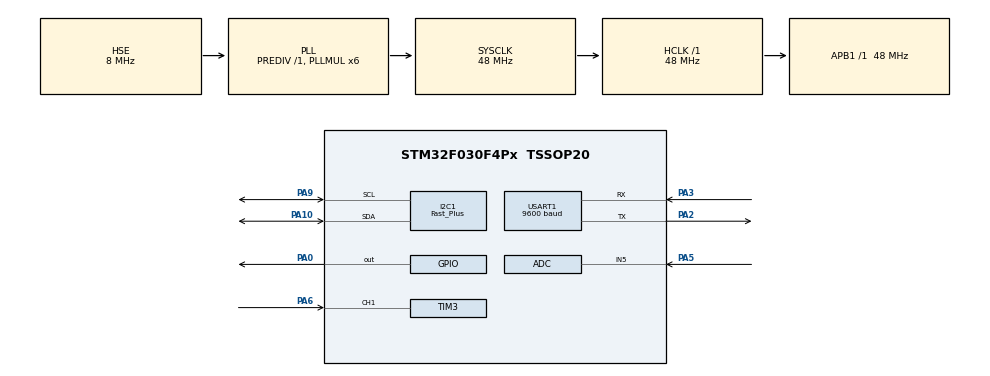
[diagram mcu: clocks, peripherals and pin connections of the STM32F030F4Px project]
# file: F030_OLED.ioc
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ADC.Resolution=ADC_RESOLUTION_12B
ADC.SamplingTime=ADC_SAMPLETIME_239CYCLES_5
Dma.Request0=USART1_RX
Dma.USART1_RX.0.Direction=DMA_PERIPH_TO_MEMORY
Dma.USART1_RX.0.Instance=DMA1_Channel3
Dma.USART1_RX.0.MemDataAlignment=DMA_MDATAALIGN_BYTE
Dma.USART1_RX.0.MemInc=DMA_MINC_ENABLE
Dma.USART1_RX.0.Mode=DMA_NORMAL
Dma.USART1_RX.0.PeriphDataAlignment=DMA_PDATAALIGN_BYTE
Dma.USART1_RX.0.PeriphInc=DMA_PINC_DISABLE
Dma.USART1_RX.0.Priority=DMA_PRIORITY_LOW
I2C1.I2C_Speed_Mode=I2C_Fast_Plus
I2C1.Timing=0x00000001
Mcu.Family=STM32F0
Mcu.Name=STM32F030F4Px
Mcu.Package=TSSOP20
NVIC.ADC1_IRQn=true\:0\:0\:false\:false\:true\:true
NVIC.DMA1_Channel2_3_IRQn=true\:0\:0\:false\:false\:true\:false
NVIC.TIM3_IRQn=true\:0\:0\:false\:false\:true\:true
NVIC.USART1_IRQn=true\:0\:0\:false\:false\:true\:true
PA0.Signal=GPIO_Output
PA10.Mode=I2C
PA10.Signal=I2C1_SDA
PA2.Mode=Asynchronous
PA2.Signal=USART1_TX
PA3.Mode=Asynchronous
PA3.Signal=USART1_RX
PA5.Mode=IN5
PA5.Signal=ADC_IN5
PA6.GPIO_PuPd=GPIO_PULLDOWN
PA6.Signal=S_TIM3_CH1
PA9.Mode=I2C
PA9.Signal=I2C1_SCL
PF0-OSC_IN.Mode=HSE-External-Oscillator
PF0-OSC_IN.Signal=RCC_OSC_IN
PF1-OSC_OUT.Mode=HSE-External-Oscillator
PF1-OSC_OUT.Signal=RCC_OSC_OUT
ProjectManager.HeapSize=0x200
ProjectManager.StackSize=0x400
ProjectManager.TargetToolchain=MDK-ARM V5
RCC.AHBFreq_Value=48000000
RCC.APB1Freq_Value=48000000
RCC.APB1TimFreq_Value=48000000
RCC.HCLKFreq_Value=48000000
RCC.PLLMUL=RCC_PLL_MUL6
RCC.PLLSourceVirtual=RCC_PLLSOURCE_HSE
RCC.SYSCLKFreq_VALUE=48000000
RCC.SYSCLKSource=RCC_SYSCLKSOURCE_PLLCLK
SH.S_TIM3_CH1.0=TIM3_CH1,Input_Capture1_from_TI1
TIM3.AutoReloadPreload=TIM_AUTORELOAD_PRELOAD_ENABLE
TIM3.Channel-Input_Capture1_from_TI1=TIM_CHANNEL_1
TIM3.ICFilter_CH1=8
TIM3.Period=65535
TIM3.Prescaler=47
USART1.BaudRate=9600
USART1.VirtualMode-Asynchronous=VM_ASYNC
board=custom

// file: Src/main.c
/* USER CODE BEGIN Header */
/**
  ******************************************************************************
  * @file           : main.c
  * @brief          : Main program body
  ******************************************************************************
  ** This notice applies to any and all portions of this file
  * that are not between comment pairs USER CODE BEGIN and
  * USER CODE END. Other portions of this file, whether
  * inserted by the user or by software development tools
  * are owned by their respective copyright owners.
  *
  * COPYRIGHT(c) 2019 STMicroelectronics
  *
  * Redistribution and use in source and binary forms, with or without modification,
  * are permitted provided that the following conditions are met:
  *   1. Redistributions of source code must retain the above copyright notice,
  *      this list of conditions and the following disclaimer.
  *   2. Redistributions in binary form must reproduce the above copyright notice,
  *      this list of conditions and the following disclaimer in the documentation
  *      and/or other materials provided with the distribution.
  *   3. Neither the name of STMicroelectronics nor the names of its contributors
  *      may be used to endorse or promote products derived from this software
  *      without specific prior written permission.
  *
  * THIS SOFTWARE IS PROVIDED BY THE COPYRIGHT HOLDERS AND CONTRIBUTORS "AS IS"
  * AND ANY EXPRESS OR IMPLIED WARRANTIES, INCLUDING, BUT NOT LIMITED TO, THE
  * IMPLIED WARRANTIES OF MERCHANTABILITY AND FITNESS FOR A PARTICULAR PURPOSE ARE
  * DISCLAIMED. IN NO EVENT SHALL THE COPYRIGHT HOLDER OR CONTRIBUTORS BE LIABLE
  * FOR ANY DIRECT, INDIRECT, INCIDENTAL, SPECIAL, EXEMPLARY, OR CONSEQUENTIAL
  * DAMAGES (INCLUDING, BUT NOT LIMITED TO, PROCUREMENT OF SUBSTITUTE GOODS OR
  * SERVICES; LOSS OF USE, DATA, OR PROFITS; OR BUSINESS INTERRUPTION) HOWEVER
  * CAUSED AND ON ANY THEORY OF LIABILITY, WHETHER IN CONTRACT, STRICT LIABILITY,
  * OR TORT (INCLUDING NEGLIGENCE OR OTHERWISE) ARISING IN ANY WAY OUT OF THE USE
  * OF THIS SOFTWARE, EVEN IF ADVISED OF THE POSSIBILITY OF SUCH DAMAGE.
  *
  ******************************************************************************
  */
/* USER CODE END Header */

#include "main.h"
#include "adc.h"
#include "dma.h"
#include "i2c.h"
#include "tim.h"
#include "usart.h"
#include "gpio.h"

/* USER CODE BEGIN Includes */
#include "oled.h"
#include "dht11.h"
#include <stdio.h>
#include <string.h>
#include "ch2o.h"
#include "PWMCapture.h"

/* USER CODE END Includes */

void SystemClock_Config(void);

/* USER CODE BEGIN 0 */

uint16_t ADC_value = 0;

/* USER CODE END 0 */

int main(void)
{

  /* MCU Configuration--------------------------------------------------------*/

  /* Reset of all peripherals, Initializes the Flash interface and the Systick. */
  HAL_Init();

  /* Configure the system clock */
  SystemClock_Config();

  /* Initialize all configured peripherals */
  MX_GPIO_Init();
  MX_DMA_Init();
  MX_I2C1_Init();
  MX_USART1_UART_Init();
  MX_ADC_Init();
  MX_TIM3_Init();
  /* USER CODE BEGIN 2 */
  EnableUartIT();
	OLED_Init();
	OLED_Clear();

	printf ("system ok!\n");
	uint16_t x = 0,y = 3,i = 0;//温湿度及坐标
	uint8_t  temperature = 0;
	uint8_t  humidity = 0;
	uint8_t tem[3] ;
	uint8_t hum[3] ;

	uint8_t ch2ochar[5] ;     //甲醛及单位
	uint8_t PPB[] = "ug/m3";

	uint8_t smogchar[5] ;     //烟感及定时器
	uint32_t ADCTime = 0;

	uint8_t co2char[6] ;

  /* USER CODE END 2 */

  /* Infinite loop */
  /* USER CODE BEGIN WHILE */
  while (1)
  {
		DHT11_Read_Data(&temperature,&humidity);	//读取温湿度值

		//Ch2oSensor();//一直不清空buff，会导致死机
		Int_To_Str(temperature,(char *)tem);         //温度数字转字符串
		Int_To_Str(humidity,(char *)hum);            //湿度数字转字符串
		Int_To_Str(Ch2oSensor(),(char *)ch2ochar);   //甲醛数字转字符串
	    Int_To_Str(HAL_ADC_GetValue(&hadc),(char *)smogchar);      //烟感ADC转字符串
		Int_To_Str(PWMCapture(),(char *)co2char);   //CO2

		x = 0;y = 0;
		OLED_ShowCHinese(x+0  ,y,4);//温度显示：
		OLED_ShowCHinese(x+=18,y,5);//
		OLED_ShowCHinese(x+=18,y,6);//
		OLED_ShowString (x+=7 ,y+1,tem,2);

		OLED_ShowCHinese(x+=25,y,7);//湿度显示：
		OLED_ShowCHinese(x+=18,y,8);//
		OLED_ShowCHinese(x+=18,y,9);//
		OLED_ShowString (x+=7 ,y+1,hum,2);

		y = 2;
		OLED_ShowCHinese(i+0 ,y,0);//滚动字体
		OLED_ShowCHinese(i+18,y,1);//
		OLED_ShowCHinese(i+36,y,2);//
		OLED_ShowCHinese(i+54,y,3);//
		i++;//实现滚动

		x = 0;y = 4;
		OLED_ShowString (x,y,"CO2:",strlen("CO2:"));   //CO2显示位置
		OLED_ShowString (x+=40,y,co2char,strlen((char *)co2char));
		x += (strlen((char *)co2char)*8);
		OLED_ShowString (x,y," ",2);//清除后面的显示

		x = 0;y = 5;
		OLED_ShowString (x,y,"Smog:",strlen("Smog:"));   //烟感显示位置
		OLED_ShowString (x+40,y,smogchar,strlen((char *)smogchar));

		x = 0;y = 6;
		OLED_ShowCHinese(x+0  ,y,10);//甲醛：
		OLED_ShowCHinese(x+=18,y,11);//
		OLED_ShowCHinese(x+=18,y,9);//
		OLED_ShowString (x+=7 ,y+1,ch2ochar,strlen((char *)ch2ochar));
		x += (strlen((char *)ch2ochar)*8);
		OLED_ShowString (x,y+1,PPB,strlen((char *)PPB));
		OLED_ShowString (x+=40,y+1," ",strlen((char *)PPB));//清除后面的显示

		if ((HAL_GetTick() - ADCTime) > 2000)
		{
			HAL_ADC_Start_IT(&hadc);//数据接收在ADC回调函数

			ADCTime = HAL_GetTick();

			PWMCapture();

		}

    /* USER CODE END WHILE */

  }
}

void SystemClock_Config(void)
{
  RCC_OscInitTypeDef RCC_OscInitStruct = {0};
  RCC_ClkInitTypeDef RCC_ClkInitStruct = {0};
  RCC_PeriphCLKInitTypeDef PeriphClkInit = {0};

  /**Initializes the CPU, AHB and APB busses clocks
  */
  RCC_OscInitStruct.OscillatorType = RCC_OSCILLATORTYPE_HSI|RCC_OSCILLATORTYPE_HSI14
                              |RCC_OSCILLATORTYPE_HSE;
  RCC_OscInitStruct.HSEState = RCC_HSE_ON;
  RCC_OscInitStruct.HSIState = RCC_HSI_ON;
  RCC_OscInitStruct.HSI14State = RCC_HSI14_ON;
  RCC_OscInitStruct.HSICalibrationValue = RCC_HSICALIBRATION_DEFAULT;
  RCC_OscInitStruct.HSI14CalibrationValue = 16;
  RCC_OscInitStruct.PLL.PLLState = RCC_PLL_ON;
  RCC_OscInitStruct.PLL.PLLSource = RCC_PLLSOURCE_HSE;
  RCC_OscInitStruct.PLL.PLLMUL = RCC_PLL_MUL6;
  RCC_OscInitStruct.PLL.PREDIV = RCC_PREDIV_DIV1;
  if (HAL_RCC_OscConfig(&RCC_OscInitStruct) != HAL_OK)
  {
    Error_Handler();
  }
  /**Initializes the CPU, AHB and APB busses clocks
  */
  RCC_ClkInitStruct.ClockType = RCC_CLOCKTYPE_HCLK|RCC_CLOCKTYPE_SYSCLK
                              |RCC_CLOCKTYPE_PCLK1;
  RCC_ClkInitStruct.SYSCLKSource = RCC_SYSCLKSOURCE_PLLCLK;
  RCC_ClkInitStruct.AHBCLKDivider = RCC_SYSCLK_DIV1;
  RCC_ClkInitStruct.APB1CLKDivider = RCC_HCLK_DIV1;

  if (HAL_RCC_ClockConfig(&RCC_ClkInitStruct, FLASH_LATENCY_1) != HAL_OK)
  {
    Error_Handler();
  }
  PeriphClkInit.PeriphClockSelection = RCC_PERIPHCLK_USART1|RCC_PERIPHCLK_I2C1;
  PeriphClkInit.Usart1ClockSelection = RCC_USART1CLKSOURCE_PCLK1;
  PeriphClkInit.I2c1ClockSelection = RCC_I2C1CLKSOURCE_HSI;
  if (HAL_RCCEx_PeriphCLKConfig(&PeriphClkInit) != HAL_OK)
  {
    Error_Handler();
  }
}

/* USER CODE BEGIN 4 */

void HAL_ADC_ConvCpltCallback(ADC_HandleTypeDef* hadc)
{
	ADC_value = HAL_ADC_GetValue(hadc);

	//printf("ADC_value = %d\n",ADC_value);
}

int fputc(int ch,FILE *f)   //串口重定向
{
	while((USART1->ISR&0x40)==0);
	USART1->TDR=ch;
	return ch;
}
/* USER CODE END 4 */

void Error_Handler(void)
{
}

/************************ (C) COPYRIGHT STMicroelectronics *****END OF FILE****/
